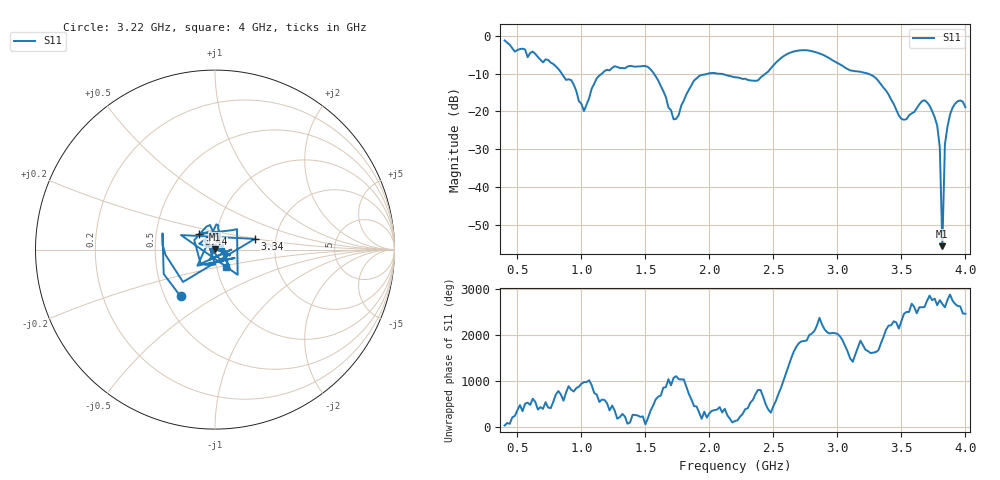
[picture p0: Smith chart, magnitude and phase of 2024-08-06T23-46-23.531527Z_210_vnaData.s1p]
!Created with skrf (http://scikit-rf.org).
# Hz S RI R 50.0
!freq ReS11 ImS11
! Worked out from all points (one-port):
!   181 points, 400 MHz to 4 GHz, reference 50 ohm
!   lowest |S11| = -55.7 dB at 3.82 GHz (marker M1), VSWR 1.00, Z = 49.9 + j0.0711 ohm
!   |S11| at or under -10 dB: 1.567 GHz to 1.989 GHz (421.9 MHz wide, 23.7 % of centre); 2.077 GHz to 2.439 GHz (361.8 MHz wide, 16 % of centre); 3.24 GHz to end of sweep (the widest 3 of 4)
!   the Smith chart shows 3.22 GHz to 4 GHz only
!   S11 on the Smith chart (normalised r, x): 3.22 GHz: 0.60, -0.35; 3.34 GHz: 1.55, +0.20; 3.44 GHz: 0.82, +0.14; 4 GHz: 1.10, -0.22
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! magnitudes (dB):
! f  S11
! 400 MHz  -1.2
! 860 MHz  -10.7
! 920 MHz  -11.7
! 1.02 GHz  -19.9
! 1.12 GHz  -11.2
! 1.3 GHz  -8.5
! 1.52 GHz  -8.2
! 1.6 GHz  -11.8
! 1.72 GHz  -22.1
! 1.76 GHz  -21.0
! 1.92 GHz  -10.6
! 2.2 GHz  -11.0
! 2.38 GHz  -11.8
! 2.66 GHz  -4.1
! 3.1 GHz  -9.1
! 3.22 GHz  -9.8
! 3.34 GHz  -12.8
! 3.44 GHz  -18.0
! 3.5 GHz  -22.0
! 3.56 GHz  -21.0
! 3.68 GHz  -17.0
! 3.78 GHz  -23.8
! 3.8 GHz  -29.5
! 3.82 GHz  -55.7
! 3.84 GHz  -28.7
! 3.86 GHz  -24.1
! 3.92 GHz  -17.9
! 4 GHz  -18.9
